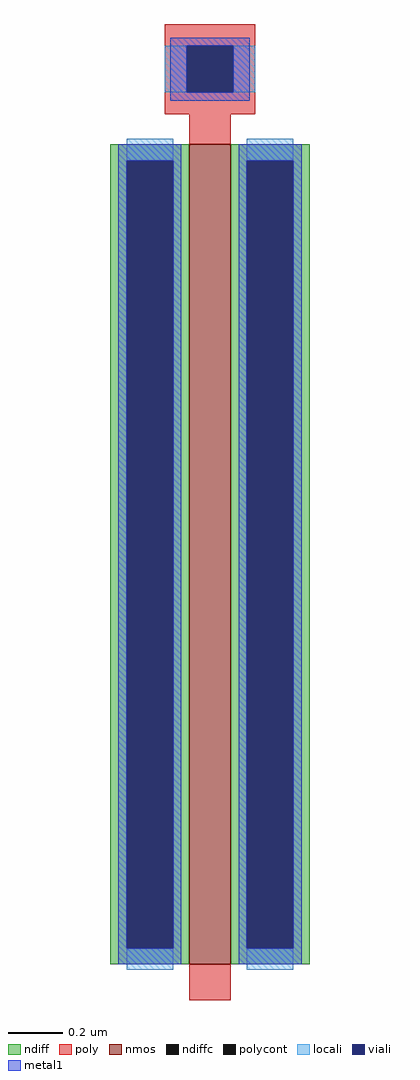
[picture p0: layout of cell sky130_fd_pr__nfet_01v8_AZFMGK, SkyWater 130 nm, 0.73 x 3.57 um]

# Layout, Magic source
magic
tech sky130A
magscale 1 2
<< nmos >>
rect -15 -331 15 269
<< ndiff >>
rect -73 257 -15 269
rect -73 -319 -61 257
rect -27 -319 -15 257
rect -73 -331 -15 -319
rect 15 257 73 269
rect 15 -319 27 257
rect 61 -319 73 257
rect 15 -331 73 -319
<< ndiffc >>
rect -61 -319 -27 257
rect 27 -319 61 257
<< poly >>
rect -33 341 33 357
rect -33 307 -17 341
rect 17 307 33 341
rect -33 291 33 307
rect -15 269 15 291
rect -15 -357 15 -331
<< polycont >>
rect -17 307 17 341
<< locali >>
rect -33 307 -17 341
rect 17 307 33 341
rect -61 257 -27 273
rect -61 -335 -27 -319
rect 27 257 61 273
rect 27 -335 61 -319
<< viali >>
rect -17 307 17 341
rect -61 -319 -27 257
rect 27 -319 61 257
<< metal1 >>
rect -29 341 29 347
rect -29 307 -17 341
rect 17 307 29 341
rect -29 301 29 307
rect -67 257 -21 269
rect -67 -319 -61 257
rect -27 -319 -21 257
rect -67 -331 -21 -319
rect 21 257 67 269
rect 21 -319 27 257
rect 61 -319 67 257
rect 21 -331 67 -319
<< properties >>
string gencell sky130_fd_pr__nfet_01v8
string parameters w 3 l 0.150 m 1 nf 1 diffcov 100 polycov 100 guard 0 glc 0 grc 0 gtc 0 gbc 0 tbcov 100 rlcov 100 topc 1 botc 0 poverlap 0 doverlap 0 lmin 0.15 wmin 0.42 compatible {sky130_fd_pr__nfet_01v8 sky130_fd_pr__nfet_01v8_lvt  sky130_fd_bs_flash__special_sonosfet_star  sky130_fd_pr__nfet_g5v0d10v5 sky130_fd_pr__nfet_05v0_nvt} full_metal 0 viasrc 100 viadrn 100 viagate 100 viagb 0 viagr 0 viagl 0 viagt 0
string library sky130
<< end >>
